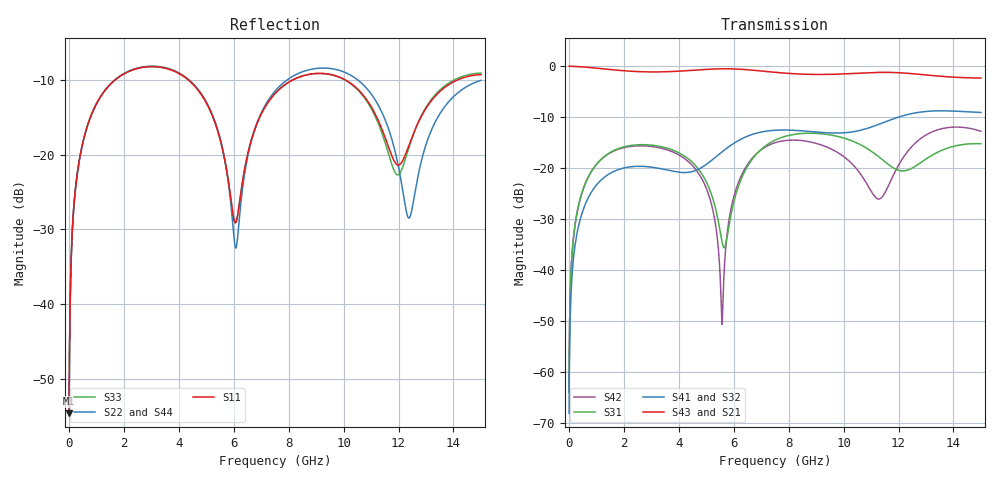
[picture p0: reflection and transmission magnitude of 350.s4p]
! Created with skrf 1.8.0 (http://scikit-rf.org).
# GHz S RI R 50.0
!freq ReS11 ImS11 ReS12 ImS12 ReS13 ImS13
! ReS14 ImS14
! ReS21 ImS21 ReS22 ImS22 ReS23 ImS23
! ReS24 ImS24
! ReS31 ImS31 ReS32 ImS32 ReS33 ImS33
! ReS34 ImS34
! ReS41 ImS41 ReS42 ImS42 ReS43 ImS43
! ReS44 ImS44
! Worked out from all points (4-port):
!   2499 points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, 5 MHz to 15 GHz, reference 50 ohm
!   strongest paths, dB at 5 MHz, 3.476 GHz, 7.19 GHz, 11.1 GHz, 15 GHz:
!     S43: 0.0, -1.1, -1.1, -1.3, -2.3
!     S21: 0.0, -1.1, -1.1, -1.3, -2.3
!     S41: -68.1, -20.3, -12.8, -11.8, -9.1
!     S32: -68.1, -20.4, -12.8, -11.8, -9.2
!     S31: -64.0, -16.0, -15.5, -17.0, -15.2
!     S42: -64.0, -16.3, -15.8, -25.3, -12.8
!   lowest |S11| = -54.6 dB at 5 MHz (marker M1), VSWR 1.00, Z = 50.1 + j0.112 ohm
!   |S11| at or under -10 dB: start of sweep to 1.683 GHz; 4.344 GHz to 8.158 GHz (3.814 GHz wide, 61 % of centre); 10.06 GHz to 14.16 GHz (4.099 GHz wide, 33.8 % of centre)
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0.005  0.00148 0.00112  0.9985 -0.00288  7.51e-05 0.000625  -7.27e-05 -0.000385
       0.9985 -0.00288  0.00148 0.00112  -7.27e-05 -0.000385  7.5e-05 0.000625
       7.51e-05 0.000625  -7.27e-05 -0.000385  0.00148 0.00112  0.9985 -0.00288
       -7.27e-05 -0.000385  7.5e-05 0.000625  0.9985 -0.00288  0.00148 0.00112
0.3126303  0.0202 0.0741  0.9724 -0.1797  0.00986 0.0374  -0.00798 -0.023
           0.9724 -0.1797  0.0202 0.0741  -0.00797 -0.023  0.00942 0.0375
           0.00986 0.0374  -0.00797 -0.023  0.0202 0.0741  0.9724 -0.1797
           -0.00798 -0.023  0.00942 0.0375  0.9724 -0.1797  0.0202 0.0741
1.569404  0.2396 0.1856  0.6083 -0.6918  0.1275 0.0704  -0.0895 -0.0159
          0.6083 -0.6918  0.2417 0.1845  -0.0893 -0.0161  0.1214 0.0775
          0.1275 0.0704  -0.0893 -0.0161  0.2397 0.1856  0.6084 -0.6918
          -0.0895 -0.0159  0.1214 0.0775  0.6084 -0.6918  0.2415 0.1846
5.571071  0.059 -0.096  -0.8843 -0.3216  -0.016 -0.0103  -0.0428 0.1374
          -0.8843 -0.3216  0.0487 -0.1035  -0.0465 0.1361  0.0029 0.000315
          -0.016 -0.0103  -0.0465 0.1361  0.0587 -0.0961  -0.8843 -0.3218
          -0.0428 0.1374  0.0029 0.000315  -0.8843 -0.3218  0.0489 -0.1032
6.558983  0.0659 0.0879  -0.9009 0.1784  0.0533 0.0965  0.0594 0.1997
          -0.9009 0.1784  0.0566 0.0911  0.0544 0.2007  0.0496 0.1027
          0.0533 0.0965  0.0544 0.2007  0.0665 0.088  -0.901 0.178
          0.0594 0.1997  0.0496 0.1027  -0.901 0.178  0.0557 0.0903
9.50396  0.3423 -0.0352  0.0265 0.8285  0.1484 -0.1506  0.2061 -0.0799
         0.0265 0.8285  0.3713 -0.065  0.2056 -0.0696  0.1527 -0.0304
         0.1484 -0.1506  0.2056 -0.0696  0.341 -0.0411  0.0261 0.8296
         0.2061 -0.0799  0.1527 -0.0304  0.0261 0.8296  0.3671 -0.0598
15  0.3424 0.0121  0.2707 -0.7168  0.1601 -0.0659  -0.3484 -0.0421
    0.2707 -0.7168  0.3074 0.062  -0.3411 -0.0649  0.2101 -0.0923
    0.1601 -0.0659  -0.3411 -0.0649  0.3506 0.0163  0.2711 -0.7147
    -0.3484 -0.0421  0.2101 -0.0923  0.2711 -0.7147  0.3078 0.0635
